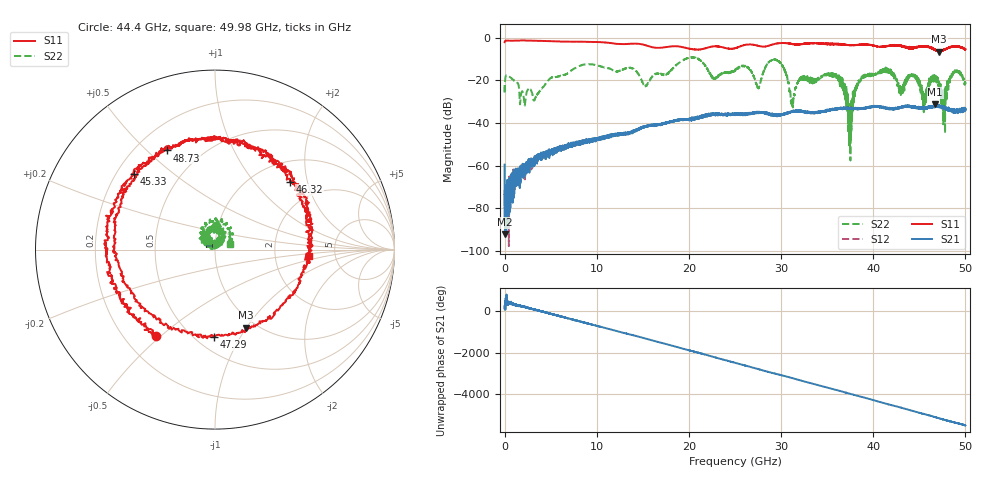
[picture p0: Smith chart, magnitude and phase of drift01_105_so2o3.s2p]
!Created with skrf (http://scikit-rf.org).
# Hz S RI R 50.0
!freq ReS11 ImS11 ReS21 ImS21 ReS12 ImS12 ReS22 ImS22
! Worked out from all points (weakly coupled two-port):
!   10001 points, 300 kHz to 50 GHz, reference 50 ohm
!   highest |S21| = -31.29 dB at 46.74 GHz (marker M1); lowest = -92.2 dB at 75.3 MHz (marker M2)
!   lowest |S11| = -6.6 dB at 47.15 GHz (marker M3), VSWR 2.76, Z = 44.6 - j49.8 ohm
!   |S11| at or under -10 dB: nowhere
!   |S22| runs from -57.5 to -9.2 dB; largest |S21 - S12| = 0.0033
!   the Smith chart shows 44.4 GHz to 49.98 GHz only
!   S11 on the Smith chart (normalised r, x): 44.4 GHz: 0.33, -0.48; 45.33 GHz: 0.27, +0.37; 46.32 GHz: 1.43, +1.58; 47.29 GHz: 0.61, -0.78; 48.73 GHz: 0.33, +0.58; 49.98 GHz: 3.16, -0.31
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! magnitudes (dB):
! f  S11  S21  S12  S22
! 300 kHz  -2.1  -59.5  -71.3  -22.2
! 75.3 MHz  -1.5  -92.2  -80.0  -19.0
! 3.29 GHz  -1.5  -56.0  -59.0  -28.9
! 8.335 GHz  -1.9  -49.1  -48.7  -12.9
! 16.67 GHz  -4.8  -40.9  -40.7  -16.7
! 25 GHz  -5.0  -35.9  -35.8  -15.4
! 29.58 GHz  -2.8  -36.4  -36.3  -10.6
! 31.24 GHz  -3.0  -34.7  -34.6  -31.9
! 33.34 GHz  -2.6  -34.9  -35.1  -20.5
! 36.08 GHz  -2.9  -33.5  -33.5  -18.0
! 37.49 GHz  -3.5  -32.9  -33.1  -41.6
! 38.64 GHz  -3.3  -33.2  -33.1  -19.9
! 41.67 GHz  -3.9  -33.0  -33.3  -15.7
! 44.4 GHz  -4.7  -32.3  -32.6  -17.5
! 45.33 GHz  -4.2  -33.0  -33.0  -28.6
! 46.32 GHz  -5.0  -32.2  -32.3  -20.0
! 46.74 GHz  -5.7  -31.3  -32.2  -20.6
! 47.15 GHz  -6.6  -32.1  -32.1  -20.3
! 47.29 GHz  -6.3  -32.5  -32.4  -22.7
! 48.73 GHz  -4.2  -34.5  -33.8  -16.2
! 49.98 GHz  -5.6  -33.4  -33.4  -21.1
! 50 GHz  -5.4  -33.8  -33.9  -21.4
